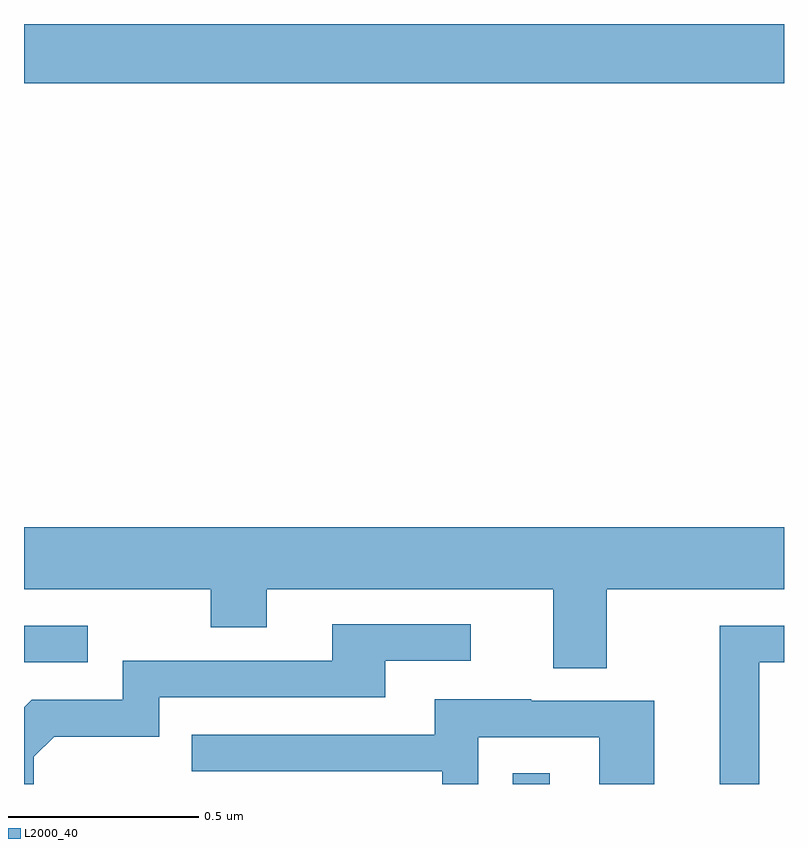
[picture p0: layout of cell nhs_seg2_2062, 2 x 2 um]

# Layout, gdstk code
import gdstk
lib = gdstk.Library(unit=1e-6, precision=1e-09)
def R(c, l, rs):  # rectangles x0, y0, x1, y1
    for r in rs: c.add(gdstk.rectangle(r[:2], r[2:], *l))
def P(c, l, *ps):  # polygons
    for p in ps: c.add(gdstk.Polygon(p, *l))
L2000_40 = (2000, 40)

nhs_seg2_2062 = lib.new_cell('nhs_seg2_2062')
R(nhs_seg2_2062, L2000_40, [(137.286,637.8,137.383,637.828), (136,638.121,136.168,638.217), (136,639.644,138,639.8)])
P(nhs_seg2_2062, L2000_40, [(137.533,638.312),(138,638.312),(138,638.476),(136,638.476),(136,638.312),(136.492,638.312),(136.492,638.213),(136.639,638.213),(136.639,638.312),(137.393,638.312),(137.393,638.104),(137.533,638.104)],
  [(136.026,637.872),(136.079,637.925),(136.356,637.925),(136.356,638.028),(136.951,638.028),(136.951,638.124),(137.176,638.124),(137.176,638.22),(136.811,638.22),(136.811,638.124),(136.26,638.124),(136.26,638.022),(136.02,638.022),(136,638.002),(136,637.8),(136.026,637.8)],
  [(137.935,638.121),(138,638.121),(138,638.217),(137.831,638.217),(137.831,637.8),(137.935,637.8)],
  [(137.196,637.923),(137.514,637.923),(137.514,637.8),(137.659,637.8),(137.659,638.019),(137.335,638.019),(137.335,638.023),(137.081,638.023),(137.081,637.929),(136.441,637.929),(136.441,637.833),(137.1,637.833),(137.1,637.8),(137.196,637.8)])

lib.write_gds('nhs_seg2_2062.gds')
